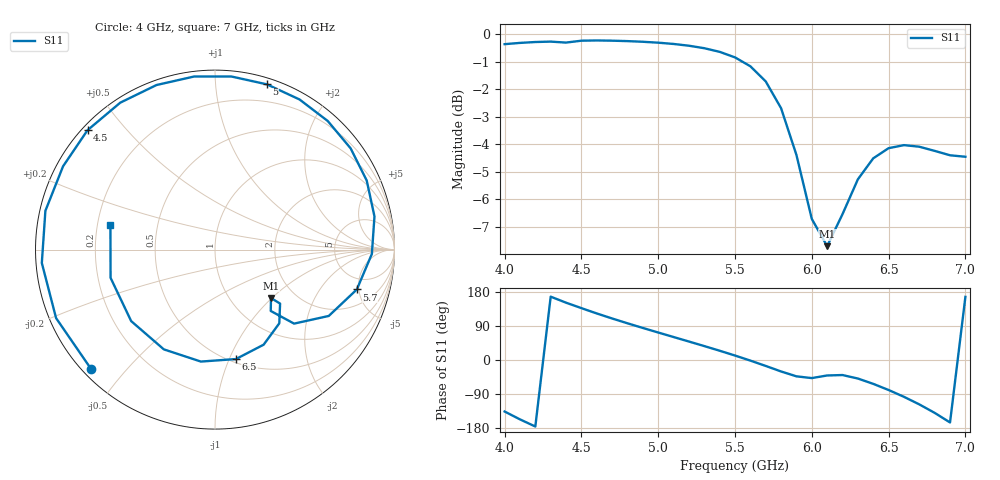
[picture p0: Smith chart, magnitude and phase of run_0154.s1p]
! Touchstone file exported from HFSS 2024.2.0
!  File:  C:/Users/wsak9/Desktop/Sim Fast/Widenad Patch/WP_AI_V1_sweep.aedt
!  Generated:  09:18:56 PM Oct 13, 2026
!  Design:  A1_model
!  Project:  WP_AI_V1_sweep
!  Setup:  Setup1
!  Solution:  Sweep
! Variables:
!  Air_gap = 4.2mm
!  Curve_Amp1 = 1.64
!  Curve_len1 = 1
!  Curve_pos = 9.555mm
!  Extra = 1.6mm
!  H_sub = 0.79mm
!  L_Patch = 15.11mm
!  L_Patch1 = 9.62mm
!  Sx = 3.35mm
!  Sy = 2.43mm
!  WS = 0.57mm
!  W_Patch = 21.8mm
!  W_Patch1 = 8.02mm
!Data is not renormalized
# GHz S MA
! Terminal data exported
! Port[1] = 1
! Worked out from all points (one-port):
!   31 points, 4 GHz to 7 GHz, reference per port
!   lowest |S11| = -7.7 dB at 6.1 GHz (marker M1), VSWR 2.40
!   |S11| at or under -10 dB: nowhere
!   S11 on the Smith chart (normalised r, x): 4 GHz: 0.02, -0.40; 4.5 GHz: 0.02, +0.39; 5 GHz: 0.05, +1.36; 5.7 GHz: 3.50, -4.76; 6.5 GHz: 0.53, -1.06; 7 GHz: 0.25, +0.11
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4  0.9591 -135.9
4.1  0.9642 -156.7
4.2  0.9677 -175.6
4.3  0.9694 167.1
4.4  0.9654 151.3
4.5  0.9731 136.9
4.6  0.9741 122.8
4.7  0.9731 109.6
4.8  0.9714 96.9
5  0.965 72.5
5.2  0.9529 48.7
5.4  0.9288 24.5
5.5  0.9075 11.8
5.6  0.8744 -1.6
5.7  0.8209 -15.7
5.8  0.7338 -30.2
5.9  0.6035 -43.1
6  0.4619 -47.7
6.1  0.4122 -40.8
6.2  0.4712 -39.7
6.3  0.5451 -48.9
6.4  0.5951 -62.9
6.5  0.6209 -79.2
6.6  0.6288 -97.2
6.7  0.6247 -117.1
6.8  0.6139 -139.5
6.9  0.6027 -164.9
7  0.599 166.6
